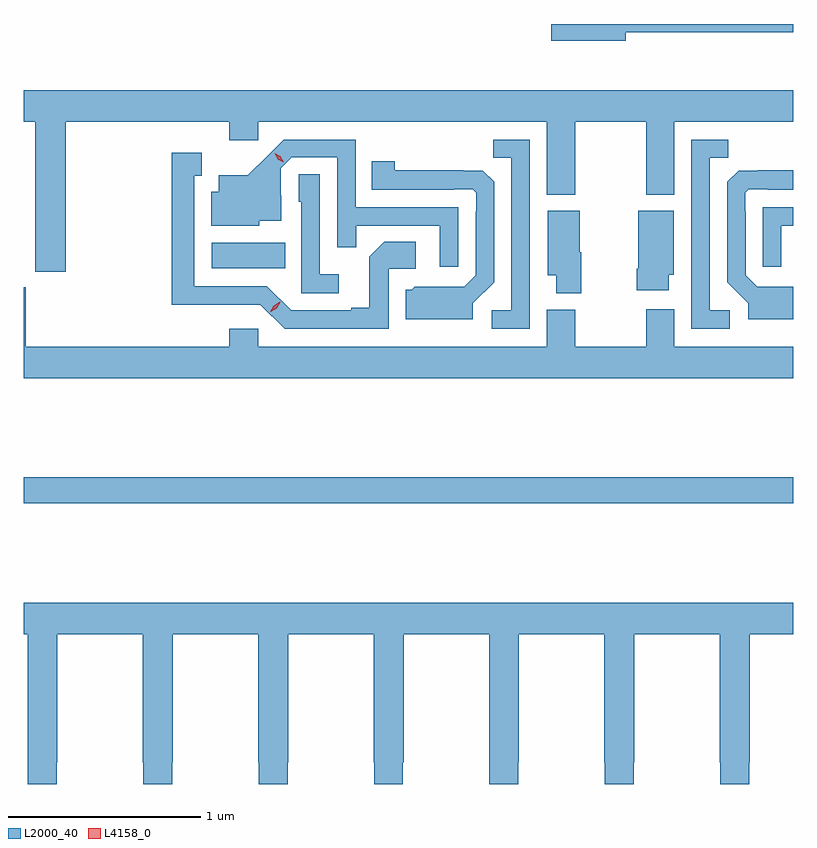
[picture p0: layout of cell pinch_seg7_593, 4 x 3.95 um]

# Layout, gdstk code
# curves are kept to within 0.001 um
import gdstk
lib = gdstk.Library(unit=1e-6, precision=1e-09)
def R(c, l, rs):  # rectangles x0, y0, x1, y1
    for r in rs: c.add(gdstk.rectangle(r[:2], r[2:], *l))
def P(c, l, *ps):  # polygons
    for p in ps: c.add(gdstk.Polygon(p, *l))
L2000_40 = (2000, 40)
L4158_0 = (4158, 0)

pinch_seg7_593 = lib.new_cell('pinch_seg7_593')
R(pinch_seg7_593, L2000_40, [(144.612,1037.26,148.612,1037.396), (145.59,1038.482,145.97,1038.616)])
P(pinch_seg7_593, L2000_40, [(147.742,1039.71),(148.612,1039.71),(148.612,1039.753),(147.354,1039.753),(147.354,1039.667),(147.742,1039.667)],
  [(144.83,1039.244),(145.679,1039.244),(145.679,1039.149),(145.83,1039.149),(145.83,1039.244),(147.332,1039.244),(147.332,1038.866),(147.48,1038.866),(147.48,1039.244),(147.847,1039.244),(147.847,1038.866),(147.994,1038.866),(147.994,1039.244),(148.612,1039.244),(148.612,1039.408),(144.612,1039.408),(144.612,1039.244),(144.67,1039.244),(144.67,1038.465),(144.83,1038.465)],
  [(147.243,1039.152),(147.052,1039.152),(147.052,1039.057),(147.147,1039.057),(147.147,1038.264),(147.045,1038.264),(147.045,1038.168),(147.243,1038.168)],
  [(148.282,1038.264),(148.179,1038.264),(148.179,1039.057),(148.275,1039.057),(148.275,1039.152),(148.083,1039.152),(148.083,1038.168),(148.282,1038.168)],
  [(146.871,1038.801),(146.337,1038.801),(146.337,1039.152),(145.964,1039.152),(145.777,1038.967),(145.625,1038.967),(145.625,1038.88),(145.586,1038.88),(145.586,1038.704),(145.836,1038.704),(145.836,1038.731),(145.951,1038.731),(145.951,1038.86),(145.947,1038.86),(145.947,1039.002),(146.004,1039.059),(146.241,1039.059),(146.241,1038.592),(146.339,1038.592),(146.339,1038.705),(146.775,1038.705),(146.775,1038.492),(146.871,1038.492)],
  [(146.508,1038.48),(146.65,1038.48),(146.65,1038.62),(146.485,1038.62),(146.409,1038.544),(146.409,1038.277),(146.315,1038.277),(146.315,1038.264),(146.001,1038.264),(145.875,1038.39),(145.498,1038.39),(145.498,1038.963),(145.537,1038.963),(145.537,1039.084),(145.38,1039.084),(145.38,1038.293),(145.842,1038.294),(145.968,1038.168),(146.508,1038.168)],
  [(146.947,1038.3),(147.057,1038.41),(147.057,1038.932),(146.998,1038.991),(146.541,1038.992),(146.541,1039.039),(146.422,1039.039),(146.422,1038.891),(146.846,1038.891),(146.846,1038.894),(146.946,1038.894),(146.964,1038.876),(146.964,1038.776),(146.961,1038.776),(146.961,1038.447),(146.901,1038.387),(146.644,1038.388),(146.628,1038.372),(146.597,1038.372),(146.597,1038.218),(146.947,1038.218)],
  [(148.612,1038.388),(148.425,1038.387),(148.365,1038.447),(148.365,1038.776),(148.362,1038.776),(148.362,1038.876),(148.38,1038.894),(148.48,1038.894),(148.48,1038.891),(148.612,1038.891),(148.612,1038.992),(148.328,1038.991),(148.269,1038.932),(148.269,1038.41),(148.379,1038.3),(148.379,1038.218),(148.612,1038.218)],
  [(146.248,1038.451),(146.151,1038.451),(146.151,1038.971),(146.04,1038.971),(146.04,1038.828),(146.055,1038.828),(146.055,1038.354),(146.248,1038.354)],
  [(148.551,1038.705),(148.612,1038.705),(148.612,1038.801),(148.455,1038.801),(148.455,1038.492),(148.551,1038.492)],
  [(147.51,1038.567),(147.502,1038.567),(147.502,1038.781),(147.335,1038.781),(147.335,1038.446),(147.38,1038.446),(147.38,1038.353),(147.51,1038.353)],
  [(147.964,1038.45),(147.991,1038.45),(147.991,1038.781),(147.806,1038.781),(147.806,1038.481),(147.799,1038.481),(147.799,1038.369),(147.964,1038.369)],
  [(148.612,1038.076),(147.994,1038.076),(147.994,1038.271),(147.847,1038.271),(147.847,1038.076),(147.48,1038.076),(147.48,1038.268),(147.332,1038.268),(147.332,1038.076),(145.83,1038.076),(145.83,1038.169),(145.679,1038.169),(145.679,1038.076),(144.622,1038.076),(144.622,1038.385),(144.612,1038.385),(144.612,1037.912),(148.612,1037.912)],
  [(144.783,1035.913),(144.786,1035.913),(144.786,1036.58),(145.231,1036.58),(145.231,1035.913),(145.233,1035.913),(145.233,1035.801),(145.383,1035.801),(145.383,1035.913),(145.386,1035.913),(145.386,1036.58),(145.831,1036.58),(145.831,1035.913),(145.833,1035.913),(145.833,1035.801),(145.983,1035.801),(145.983,1035.913),(145.986,1035.913),(145.986,1036.58),(146.431,1036.58),(146.431,1035.913),(146.433,1035.913),(146.433,1035.801),(146.583,1035.801),(146.583,1035.913),(146.586,1035.913),(146.586,1036.58),(147.031,1036.58),(147.031,1035.913),(147.033,1035.913),(147.033,1035.801),(147.183,1035.801),(147.183,1035.913),(147.186,1035.913),(147.186,1036.58),(147.631,1036.58),(147.631,1035.913),(147.633,1035.913),(147.633,1035.801),(147.783,1035.801),(147.783,1035.913),(147.786,1035.913),(147.786,1036.58),(148.231,1036.58),(148.231,1035.913),(148.233,1035.913),(148.233,1035.801),(148.383,1035.801),(148.383,1035.913),(148.386,1035.913),(148.386,1036.58),(148.612,1036.58),(148.612,1036.744),(144.612,1036.744),(144.612,1036.58),(144.631,1036.58),(144.631,1035.913),(144.633,1035.913),(144.633,1035.801),(144.783,1035.801)])
P(pinch_seg7_593, L4158_0, [(145.963,1039.035),(145.933,1039.05),(145.916,1039.08),(145.916,1039.08),(145.916,1039.08),(145.946,1039.065),(145.964,1039.035),(145.964,1039.035)],
  [(145.894,1038.256),(145.894,1038.256),(145.912,1038.289),(145.943,1038.308),(145.944,1038.308),(145.944,1038.307),(145.926,1038.275),(145.895,1038.256)])

lib.write_gds('pinch_seg7_593.gds')
